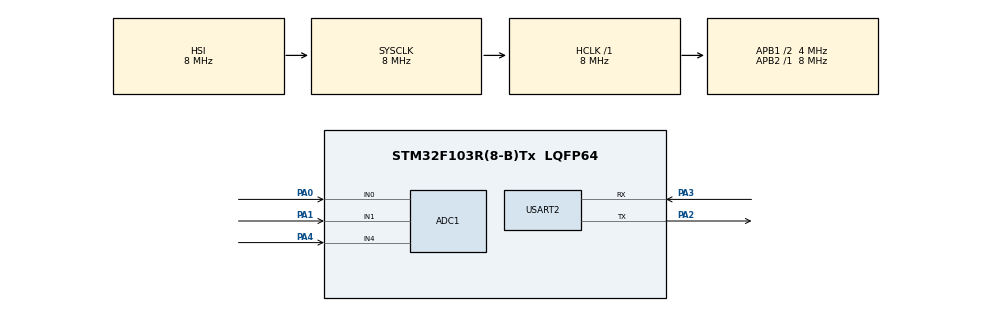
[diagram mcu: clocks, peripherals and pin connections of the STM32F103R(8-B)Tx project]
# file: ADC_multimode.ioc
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ADC1.Channel-0\#ChannelRegularConversion=ADC_CHANNEL_0
ADC1.Channel-1\#ChannelRegularConversion=ADC_CHANNEL_1
ADC1.Channel-2\#ChannelRegularConversion=ADC_CHANNEL_4
ADC1.NbrOfConversion=3
ADC1.NbrOfConversionFlag=1
ADC1.Rank-0\#ChannelRegularConversion=1
ADC1.Rank-1\#ChannelRegularConversion=2
ADC1.Rank-2\#ChannelRegularConversion=3
ADC1.SamplingTime-0\#ChannelRegularConversion=ADC_SAMPLETIME_13CYCLES_5
ADC1.SamplingTime-1\#ChannelRegularConversion=ADC_SAMPLETIME_13CYCLES_5
ADC1.SamplingTime-2\#ChannelRegularConversion=ADC_SAMPLETIME_13CYCLES_5
ADC1.master=1
Dma.ADC1.0.Direction=DMA_PERIPH_TO_MEMORY
Dma.ADC1.0.Instance=DMA1_Channel1
Dma.ADC1.0.MemDataAlignment=DMA_MDATAALIGN_WORD
Dma.ADC1.0.MemInc=DMA_MINC_ENABLE
Dma.ADC1.0.Mode=DMA_CIRCULAR
Dma.ADC1.0.PeriphDataAlignment=DMA_PDATAALIGN_WORD
Dma.ADC1.0.PeriphInc=DMA_PINC_DISABLE
Dma.ADC1.0.Priority=DMA_PRIORITY_LOW
Dma.Request0=ADC1
Mcu.Family=STM32F1
Mcu.Name=STM32F103R(8-B)Tx
Mcu.Package=LQFP64
NVIC.ADC1_2_IRQn=true\:0\:0\:false\:false\:true\:true\:true\:true
NVIC.DMA1_Channel1_IRQn=true\:0\:0\:false\:false\:true\:false\:true\:true
NVIC.PriorityGroup=NVIC_PRIORITYGROUP_4
NVIC.TIM3_IRQn=true\:0\:0\:false\:false\:true\:true\:true\:true
PA0-WKUP.Signal=ADCx_IN0
PA1.Signal=ADCx_IN1
PA2.Mode=Asynchronous
PA2.Signal=USART2_TX
PA3.Mode=Asynchronous
PA3.Signal=USART2_RX
PA4.Signal=ADCx_IN4
ProjectManager.HeapSize=0x200
ProjectManager.StackSize=0x400
ProjectManager.TargetToolchain=MDK-ARM V5.32
RCC.AHBFreq_Value=8000000
RCC.APB1CLKDivider=RCC_HCLK_DIV2
RCC.APB1Freq_Value=4000000
RCC.APB1TimFreq_Value=8000000
RCC.APB2Freq_Value=8000000
RCC.APB2TimFreq_Value=8000000
RCC.HCLKFreq_Value=8000000
RCC.RTCClockSelection=RCC_RTCCLKSOURCE_LSE
RCC.SYSCLKFreq_VALUE=8000000
RCC.USBFreq_Value=8000000
SH.ADCx_IN0.0=ADC1_IN0,IN0
SH.ADCx_IN1.0=ADC1_IN1,IN1
SH.ADCx_IN4.0=ADC1_IN4,IN4
TIM3.Period=100-1
TIM3.Prescaler=8000-1
TIM3.TIM_MasterOutputTrigger=TIM_TRGO_UPDATE
USART2.VirtualMode=VM_ASYNC
VP_SYS_VS_ND.Mode=No_Debug
VP_TIM3_VS_ClockSourceINT.Mode=Internal
board=NUCLEO-F103RB

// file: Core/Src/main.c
/* USER CODE BEGIN Header */
/**
  ******************************************************************************
  * @file           : main.c
  * @brief          : Main program body
  ******************************************************************************
  * @attention
  *
  * Copyright (c) 2022 STMicroelectronics.
  * All rights reserved.
  *
  * This software is licensed under terms that can be found in the LICENSE file
  * in the root directory of this software component.
  * If no LICENSE file comes with this software, it is provided AS-IS.
  *
  ******************************************************************************
  */
/* USER CODE END Header */
#include "main.h"

 ADC_HandleTypeDef hadc1;
DMA_HandleTypeDef hdma_adc1;

TIM_HandleTypeDef htim3;

UART_HandleTypeDef huart2;

/* USER CODE BEGIN PV */
uint32_t adcVal[3];
char TxData0[40], TxData1[40], TxData4[40];
char TxDataKanal0[40], TxDataKanal1[40], TxDataKanal4[40];
float NaponKanal0, NaponKanal1, NaponKanal4;
/* USER CODE END PV */

void SystemClock_Config(void);
static void MX_GPIO_Init(void);
static void MX_DMA_Init(void);
static void MX_ADC1_Init(void);
static void MX_TIM3_Init(void);
static void MX_USART2_UART_Init(void);

int main(void)
{

  /* MCU Configuration--------------------------------------------------------*/

  /* Reset of all peripherals, Initializes the Flash interface and the Systick. */
  HAL_Init();

  /* Configure the system clock */
  SystemClock_Config();

  /* Initialize all configured peripherals */
  MX_GPIO_Init();
  MX_DMA_Init();
  MX_ADC1_Init();
  MX_TIM3_Init();
  MX_USART2_UART_Init();
  /* USER CODE BEGIN 2 */
	HAL_TIM_Base_Start(&htim3);  //startuje tajmer
	HAL_ADC_Start_DMA(&hadc1, adcVal, 3);  // startuje ADC uz DMA
  /* USER CODE END 2 */

  /* Infinite loop */
  while (1)
  {

    /* USER CODE BEGIN 3 */
		sprintf(TxData0, "K1: Dig. vre. = %d\r\n", adcVal[0]);
		sprintf(TxData1, "K2: Dig. vre. = %d\r\n", adcVal[1]);
		sprintf(TxData4, "K3: Dig. vre. = %d\r\n", adcVal[2]);

		NaponKanal0 = (3.3*adcVal[0])/4095;
		NaponKanal1 = (3.3*adcVal[1])/4095;
		NaponKanal4 = (3.3*adcVal[2])/4095;
		sprintf(TxDataKanal0, "K1: Napon = %.3f V\r\n", NaponKanal0);
		sprintf(TxDataKanal1, "K2: Napon = %.3f V\r\n", NaponKanal1);
		sprintf(TxDataKanal4, "K3: Napon = %.3f V\r\n", NaponKanal4);

		HAL_UART_Transmit(&huart2, (uint8_t *)TxData0, strlen(TxData0), 10);
		HAL_UART_Transmit(&huart2, (uint8_t *)TxDataKanal0, strlen(TxDataKanal0), 10);
		HAL_UART_Transmit(&huart2, (uint8_t *)TxData1, strlen(TxData1), 10);
		HAL_UART_Transmit(&huart2, (uint8_t *)TxDataKanal1, strlen(TxDataKanal1), 10);
		HAL_UART_Transmit(&huart2, (uint8_t *)TxData4, strlen(TxData4), 10);
		HAL_UART_Transmit(&huart2, (uint8_t *)TxDataKanal4, strlen(TxDataKanal4), 10);

  }
  /* USER CODE END 3 */
}

void SystemClock_Config(void)
{
  RCC_OscInitTypeDef RCC_OscInitStruct = {0};
  RCC_ClkInitTypeDef RCC_ClkInitStruct = {0};
  RCC_PeriphCLKInitTypeDef PeriphClkInit = {0};

  /** Initializes the RCC Oscillators according to the specified parameters
  * in the RCC_OscInitTypeDef structure.
  */
  RCC_OscInitStruct.OscillatorType = RCC_OSCILLATORTYPE_HSI;
  RCC_OscInitStruct.HSIState = RCC_HSI_ON;
  RCC_OscInitStruct.HSICalibrationValue = RCC_HSICALIBRATION_DEFAULT;
  RCC_OscInitStruct.PLL.PLLState = RCC_PLL_NONE;
  if (HAL_RCC_OscConfig(&RCC_OscInitStruct) != HAL_OK)
  {
    Error_Handler();
  }

  /** Initializes the CPU, AHB and APB buses clocks
  */
  RCC_ClkInitStruct.ClockType = RCC_CLOCKTYPE_HCLK|RCC_CLOCKTYPE_SYSCLK
                              |RCC_CLOCKTYPE_PCLK1|RCC_CLOCKTYPE_PCLK2;
  RCC_ClkInitStruct.SYSCLKSource = RCC_SYSCLKSOURCE_HSI;
  RCC_ClkInitStruct.AHBCLKDivider = RCC_SYSCLK_DIV1;
  RCC_ClkInitStruct.APB1CLKDivider = RCC_HCLK_DIV2;
  RCC_ClkInitStruct.APB2CLKDivider = RCC_HCLK_DIV1;

  if (HAL_RCC_ClockConfig(&RCC_ClkInitStruct, FLASH_LATENCY_0) != HAL_OK)
  {
    Error_Handler();
  }
  PeriphClkInit.PeriphClockSelection = RCC_PERIPHCLK_ADC;
  PeriphClkInit.AdcClockSelection = RCC_ADCPCLK2_DIV2;
  if (HAL_RCCEx_PeriphCLKConfig(&PeriphClkInit) != HAL_OK)
  {
    Error_Handler();
  }
}

static void MX_ADC1_Init(void)
{

  ADC_ChannelConfTypeDef sConfig = {0};

  /** Common config
  */
  hadc1.Instance = ADC1;
  hadc1.Init.ScanConvMode = ADC_SCAN_ENABLE;
  hadc1.Init.ContinuousConvMode = DISABLE;
  hadc1.Init.DiscontinuousConvMode = DISABLE;
  hadc1.Init.ExternalTrigConv = ADC_SOFTWARE_START;
  hadc1.Init.DataAlign = ADC_DATAALIGN_RIGHT;
  hadc1.Init.NbrOfConversion = 3;
  if (HAL_ADC_Init(&hadc1) != HAL_OK)
  {
    Error_Handler();
  }

  /** Configure Regular Channel
  */
  sConfig.Channel = ADC_CHANNEL_0;
  sConfig.Rank = ADC_REGULAR_RANK_1;
  sConfig.SamplingTime = ADC_SAMPLETIME_13CYCLES_5;
  if (HAL_ADC_ConfigChannel(&hadc1, &sConfig) != HAL_OK)
  {
    Error_Handler();
  }

  /** Configure Regular Channel
  */
  sConfig.Channel = ADC_CHANNEL_1;
  sConfig.Rank = ADC_REGULAR_RANK_2;
  if (HAL_ADC_ConfigChannel(&hadc1, &sConfig) != HAL_OK)
  {
    Error_Handler();
  }

  /** Configure Regular Channel
  */
  sConfig.Channel = ADC_CHANNEL_4;
  sConfig.Rank = ADC_REGULAR_RANK_3;
  if (HAL_ADC_ConfigChannel(&hadc1, &sConfig) != HAL_OK)
  {
    Error_Handler();
  }

}

static void MX_TIM3_Init(void)
{

  TIM_ClockConfigTypeDef sClockSourceConfig = {0};
  TIM_MasterConfigTypeDef sMasterConfig = {0};

  htim3.Instance = TIM3;
  htim3.Init.Prescaler = 8000-1;
  htim3.Init.CounterMode = TIM_COUNTERMODE_UP;
  htim3.Init.Period = 100-1;
  htim3.Init.ClockDivision = TIM_CLOCKDIVISION_DIV1;
  htim3.Init.AutoReloadPreload = TIM_AUTORELOAD_PRELOAD_DISABLE;
  if (HAL_TIM_Base_Init(&htim3) != HAL_OK)
  {
    Error_Handler();
  }
  sClockSourceConfig.ClockSource = TIM_CLOCKSOURCE_INTERNAL;
  if (HAL_TIM_ConfigClockSource(&htim3, &sClockSourceConfig) != HAL_OK)
  {
    Error_Handler();
  }
  sMasterConfig.MasterOutputTrigger = TIM_TRGO_UPDATE;
  sMasterConfig.MasterSlaveMode = TIM_MASTERSLAVEMODE_DISABLE;
  if (HAL_TIMEx_MasterConfigSynchronization(&htim3, &sMasterConfig) != HAL_OK)
  {
    Error_Handler();
  }

}

static void MX_USART2_UART_Init(void)
{

  huart2.Instance = USART2;
  huart2.Init.BaudRate = 115200;
  huart2.Init.WordLength = UART_WORDLENGTH_8B;
  huart2.Init.StopBits = UART_STOPBITS_1;
  huart2.Init.Parity = UART_PARITY_NONE;
  huart2.Init.Mode = UART_MODE_TX_RX;
  huart2.Init.HwFlowCtl = UART_HWCONTROL_NONE;
  huart2.Init.OverSampling = UART_OVERSAMPLING_16;
  if (HAL_UART_Init(&huart2) != HAL_OK)
  {
    Error_Handler();
  }

}

static void MX_DMA_Init(void)
{

  /* DMA controller clock enable */
  __HAL_RCC_DMA1_CLK_ENABLE();

  /* DMA interrupt init */
  /* DMA1_Channel1_IRQn interrupt configuration */
  HAL_NVIC_SetPriority(DMA1_Channel1_IRQn, 0, 0);
  HAL_NVIC_EnableIRQ(DMA1_Channel1_IRQn);

}

static void MX_GPIO_Init(void)
{

  /* GPIO Ports Clock Enable */
  __HAL_RCC_GPIOA_CLK_ENABLE();

}

/* USER CODE BEGIN 4 */
void HAL_ADC_ConvCpltCallback(ADC_HandleTypeDef* hadc)
{
  /* Prevent unused argument(s) compilation warning */
  UNUSED(hadc);
  /* NOTE : This function should not be modified. When the callback is needed,
            function HAL_ADC_ConvCpltCallback must be implemented in the user file.
   */
}
/* USER CODE END 4 */

void Error_Handler(void)
{
  __disable_irq();
  while (1)
  {
  }
}
